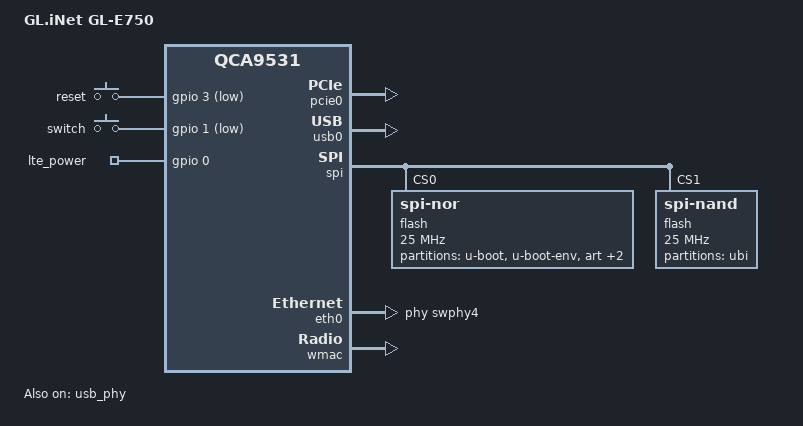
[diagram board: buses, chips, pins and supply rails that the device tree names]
// SPDX-License-Identifier: GPL-2.0-or-later OR MIT

#include "qca953x.dtsi"

#include <dt-bindings/gpio/gpio.h>
#include <dt-bindings/input/input.h>

/ {
	compatible = "glinet,gl-e750", "qca,qca9531";
	model = "GL.iNet GL-E750";

	aliases {
		label-mac-device = &eth0;
	};

	keys {
		compatible = "gpio-keys";

		pinctrl-names = "default";
		pinctrl-0 = <&jtag_disable_pins>;

		reset {
			label = "reset";
			linux,code = <KEY_RESTART>;
			gpios = <&gpio 3 GPIO_ACTIVE_LOW>;
		};

		switch {
			label = "switch";
			linux,code = <BTN_0>;
			gpios = <&gpio 1 GPIO_ACTIVE_LOW>;
		};
	};

	gpio-export {
		compatible = "gpio-export";

		gpio_lte_power {
			gpio-export,name = "lte_power";
			gpio-export,output = <1>;
			gpios = <&gpio 0 GPIO_ACTIVE_HIGH>;
		};
	 };
};

&pcie0 {
	status = "okay";
};

&usb0 {
	status = "okay";
};

&usb_phy {
	status = "okay";
};

&spi {
	status = "okay";

	flash@0 {
		compatible = "jedec,spi-nor";
		reg = <0>;
		spi-max-frequency = <25000000>;

		partitions {
			compatible = "fixed-partitions";
			#address-cells = <1>;
			#size-cells = <1>;

			partition@0 {
				label = "u-boot";
				reg = <0x0 0x40000>;
				read-only;
			};

			partition@40000 {
				label = "u-boot-env";
				reg = <0x40000 0x10000>;
			};

			art: partition@50000 {
				label = "art";
				reg = <0x50000 0x10000>;
				read-only;
			};

			partition@60000 {
				label = "kernel";
				reg = <0x60000 0x400000>;
			};

			partition@460000 {
				label = "reserved";
				reg = <0x460000 0xba0000>;
			};
		};
	};

	flash@1 {
		compatible = "spi-nand";
		reg = <1>;
		spi-max-frequency = <25000000>;

		partitions {
			compatible = "fixed-partitions";
			#address-cells = <1>;
			#size-cells = <1>;

			partition@0 {
				label = "ubi";
				reg = <0x0 0x8000000>;
			};
		};
	};
};

&eth0 {
	status = "okay";

	phy-handle = <&swphy4>;

	mtd-mac-address = <&art 0x0>;
};

&eth1 {
	compatible = "syscon", "simple-mfd";
};

&wmac {
	status = "okay";

	mtd-cal-data = <&art 0x1000>;
};
